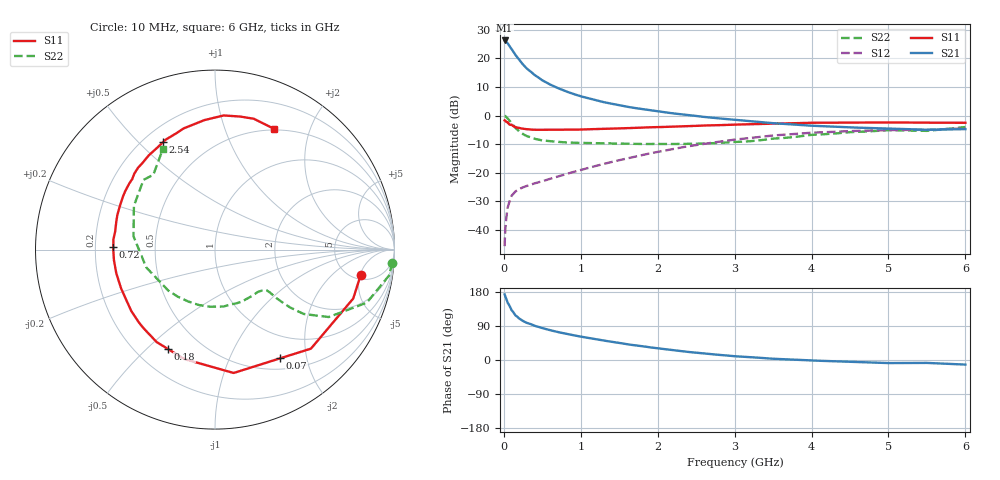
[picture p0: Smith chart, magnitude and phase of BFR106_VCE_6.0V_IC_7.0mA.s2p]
! Infineon Technologies  Discrete & RF Semiconductors
! BFR106
! VCE =  6.0 V,  IC =  7.0 mA
! Common Emitter S-Parameters:  Nov 2015
# GHz  S  MA  R  50
!  f  S11  S21  S12  S22
! GHz  MAG  ANG  MAG  ANG  MAG  ANG  MAG  ANG
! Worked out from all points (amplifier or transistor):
!   210 points, 10 MHz to 6 GHz, reference 50 ohm
!   highest |S21| = 26.3 dB at 10 MHz (marker M1)
!   |S21| within 3 dB of that: start of sweep to 101.2 MHz
!   unconditionally stable (mu >= 1): 567 MHz to 1.886 GHz; 5.124 GHz to end of sweep
!   at 185 MHz: K = 0.46, MSG = 23.0 dB, |S12| = -26.0 dB
!   at 1.52 GHz: K = 1.09, MAG = 7.7 dB, |S12| = -15.5 dB
!   at 6 GHz: K = 1.01, MAG = -0.9 dB, |S12| = -4.5 dB
!   S11 on the Smith chart (normalised r, x): 10 MHz: 5.84, -5.11; 70 MHz: 0.65, -1.57; 180 MHz: 0.33, -0.58; 720 MHz: 0.28, +0.01; 2.54 GHz: 0.28, +0.59; 6 GHz: 0.49, +1.49
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0.01  0.8242 -9.8  20.61 173.1  0.0052 86.5  0.9902 -4.2
0.02  0.817 -19.5  20.37 167.8  0.0106 79.3  0.9801 -8.5
0.05  0.7683 -45.9  18.4 151.1  0.0247 67.4  0.8957 -19.3
0.07  0.7061 -59.1  16.69 144.4  0.0304 60.8  0.8282 -23.3
0.1  0.6952 -81.4  14.68 131.7  0.0395 54.6  0.7363 -30.7
0.15  0.6333 -105.6  11.54 117.9  0.047 46.8  0.6098 -36.0
0.18  0.6125 -115.4  10.23 113.2  0.0499 45.2  0.5618 -36.9
0.2  0.6091 -122.2  9.402 109.4  0.0518 44.3  0.5299 -37.6
0.24  0.5923 -131.9  8.095 104.1  0.055 43.2  0.4838 -38.0
0.3  0.5783 -143.8  6.63 97.9  0.0589 43.9  0.4377 -38.3
0.4  0.5662 -157.4  5.128 90.3  0.0652 45.8  0.3919 -38.0
0.5  0.5655 -166.5  4.142 84.0  0.071 48.6  0.368 -38.2
0.6  0.5662 -174.1  3.5 78.7  0.0783 51.7  0.3566 -39.3
0.72  0.5667 178.7  2.963 73.0  0.087 54.7  0.3458 -41.5
1.02  0.5718 164.1  2.139 61.0  0.1137 60.1  0.3325 -48.6
1.4  0.5925 149.7  1.609 48.1  0.1542 63.1  0.3265 -61.2
2.02  0.6293 130.0  1.176 30.3  0.2346 60.9  0.3185 -87.2
2.54  0.6653 115.7  0.971 18.5  0.311 55.2  0.323 -113.4
3.1  0.7008 102.6  0.82 8.8  0.3926 46.1  0.3493 -144.6
4.1  0.7491 84.9  0.656 -2.0  0.5075 27.5  0.4665 166.6
5.1  0.758 72.4  0.588 -8.0  0.559 11.3  0.5527 134.5
6  0.7486 63.9  0.58 -12.1  0.599 -0.2  0.631 117.4
